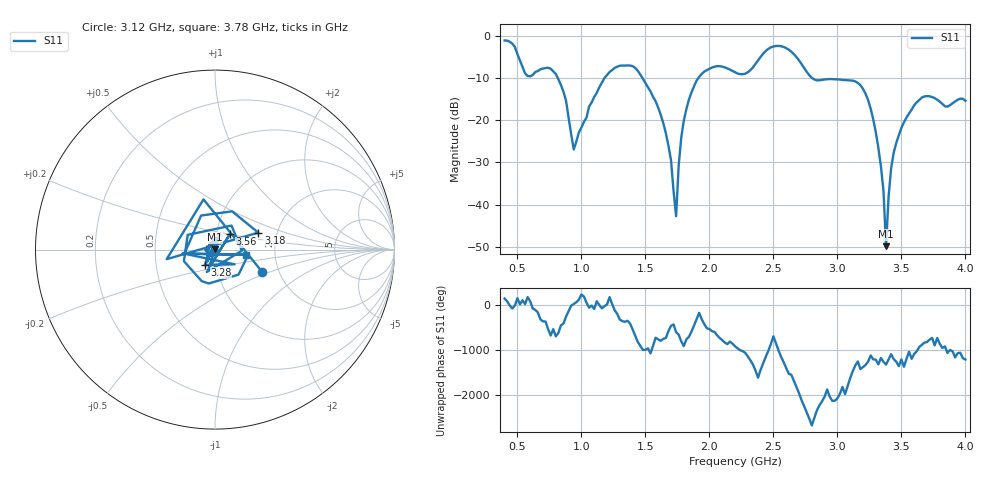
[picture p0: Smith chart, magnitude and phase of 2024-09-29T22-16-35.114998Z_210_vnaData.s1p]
!Created with skrf (http://scikit-rf.org).
# Hz S RI R 50.0
!freq ReS11 ImS11
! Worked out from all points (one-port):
!   181 points, 400 MHz to 4 GHz, reference 50 ohm
!   lowest |S11| = -49.8 dB at 3.38 GHz (marker M1), VSWR 1.01, Z = 49.8 + j0.275 ohm
!   |S11| at or under -10 dB: 814.6 MHz to 1.181 GHz (366.6 MHz wide, 36.7 % of centre); 1.476 GHz to 1.915 GHz (438.9 MHz wide, 25.9 % of centre); 2.8 GHz to end of sweep
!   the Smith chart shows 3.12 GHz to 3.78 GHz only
!   S11 on the Smith chart (normalised r, x): 3.12 GHz: 1.64, -0.45; 3.18 GHz: 1.60, +0.32; 3.28 GHz: 0.88, -0.15; 3.56 GHz: 1.16, +0.20; 3.78 GHz: 1.41, -0.09
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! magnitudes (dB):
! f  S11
! 400 MHz  -1.2
! 580 MHz  -9.6
! 760 MHz  -7.8
! 860 MHz  -13.3
! 940 MHz  -26.9
! 1.14 GHz  -12.2
! 1.3 GHz  -7.1
! 1.42 GHz  -7.6
! 1.6 GHz  -17.1
! 1.7 GHz  -29.5
! 1.74 GHz  -42.7
! 1.76 GHz  -30.7
! 1.8 GHz  -20.1
! 1.9 GHz  -10.6
! 2.2 GHz  -8.7
! 2.66 GHz  -4.4
! 2.82 GHz  -10.4
! 3.1 GHz  -10.6
! 3.12 GHz  -10.7
! 3.18 GHz  -11.7
! 3.28 GHz  -19.8
! 3.36 GHz  -36.7
! 3.38 GHz  -49.8
! 3.4 GHz  -38.1
! 3.44 GHz  -27.7
! 3.56 GHz  -18.4
! 3.78 GHz  -15.2
! 4 GHz  -15.4
